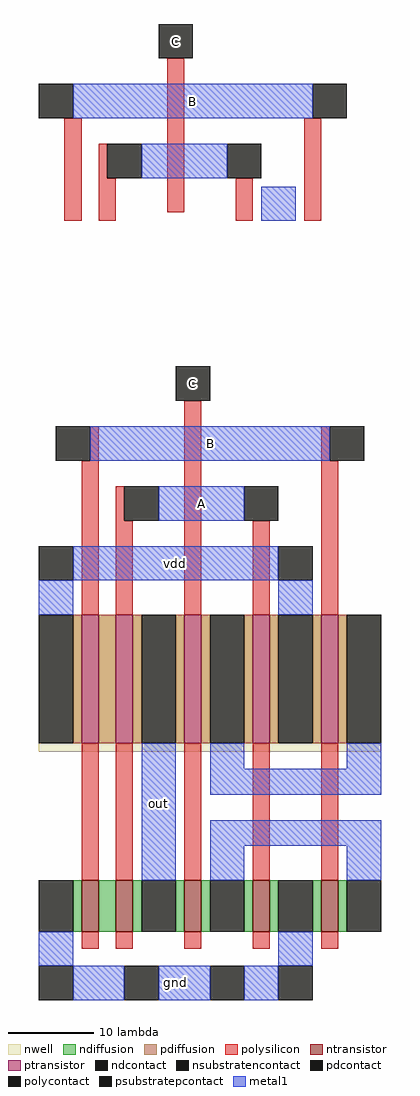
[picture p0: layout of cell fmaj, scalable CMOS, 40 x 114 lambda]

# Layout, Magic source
magic
tech scmos
<< nwell >>
rect -43 36 -3 52
<< polysilicon >>
rect -40 98 -38 110
rect -36 103 -35 107
rect -36 98 -34 103
rect -28 99 -26 117
rect -20 98 -18 103
rect -12 98 -10 110
rect -37 70 -36 74
rect -38 52 -36 70
rect -34 63 -33 67
rect -34 52 -32 63
rect -26 52 -24 77
rect -10 70 -9 74
rect -18 52 -16 63
rect -10 52 -8 70
rect -38 21 -36 37
rect -34 21 -32 37
rect -26 21 -24 37
rect -18 21 -16 37
rect -10 21 -8 37
rect -38 13 -36 15
rect -34 13 -32 15
rect -26 13 -24 15
rect -18 13 -16 15
rect -10 13 -8 15
<< ndiffusion >>
rect -39 15 -38 21
rect -36 15 -34 21
rect -32 15 -31 21
rect -27 15 -26 21
rect -24 15 -23 21
rect -19 15 -18 21
rect -16 15 -15 21
rect -11 15 -10 21
rect -8 15 -7 21
<< pdiffusion >>
rect -39 37 -38 52
rect -36 37 -34 52
rect -32 37 -31 52
rect -27 37 -26 52
rect -24 37 -23 52
rect -19 37 -18 52
rect -16 37 -15 52
rect -11 37 -10 52
rect -8 37 -7 52
<< metal1 >>
rect -39 110 -11 114
rect -31 103 -21 107
rect -17 98 -13 102
rect -37 70 -9 74
rect -29 63 -19 67
rect -39 56 -15 60
rect -43 52 -39 56
rect -15 52 -11 56
rect -31 21 -27 37
rect -23 34 -19 37
rect -7 34 -3 37
rect -23 31 -3 34
rect -23 25 -3 28
rect -23 21 -19 25
rect -7 21 -3 25
rect -43 11 -39 15
rect -15 11 -11 15
rect -39 7 -33 11
rect -29 7 -23 11
rect -19 7 -15 11
<< ntransistor >>
rect -38 15 -36 21
rect -34 15 -32 21
rect -26 15 -24 21
rect -18 15 -16 21
rect -10 15 -8 21
<< ptransistor >>
rect -38 37 -36 52
rect -34 37 -32 52
rect -26 37 -24 52
rect -18 37 -16 52
rect -10 37 -8 52
<< polycontact >>
rect -29 117 -25 121
rect -43 110 -39 114
rect -35 103 -31 107
rect -11 110 -7 114
rect -21 103 -17 107
rect -27 77 -23 81
rect -41 70 -37 74
rect -33 63 -29 67
rect -9 70 -5 74
rect -19 63 -15 67
<< ndcontact >>
rect -43 15 -39 21
rect -31 15 -27 21
rect -23 15 -19 21
rect -15 15 -11 21
rect -7 15 -3 21
<< pdcontact >>
rect -43 37 -39 52
rect -31 37 -27 52
rect -23 37 -19 52
rect -15 37 -11 52
rect -7 37 -3 52
<< psubstratepcontact >>
rect -43 7 -39 11
rect -33 7 -29 11
rect -23 7 -19 11
rect -15 7 -11 11
<< nsubstratencontact >>
rect -43 56 -39 60
rect -15 56 -11 60
<< labels >>
rlabel metal1 -31 27 -27 33 0 out
rlabel metal1 -39 110 -11 114 0 B
rlabel polycontact -29 117 -25 121 0 C
rlabel polycontact -27 77 -23 81 0 C
rlabel metal1 -37 70 -9 74 0 B
rlabel metal1 -39 56 -15 60 0 vdd
rlabel metal1 -33 63 -15 67 0 A
rlabel metal1 -43 7 -11 11 0 gnd
<< end >>
